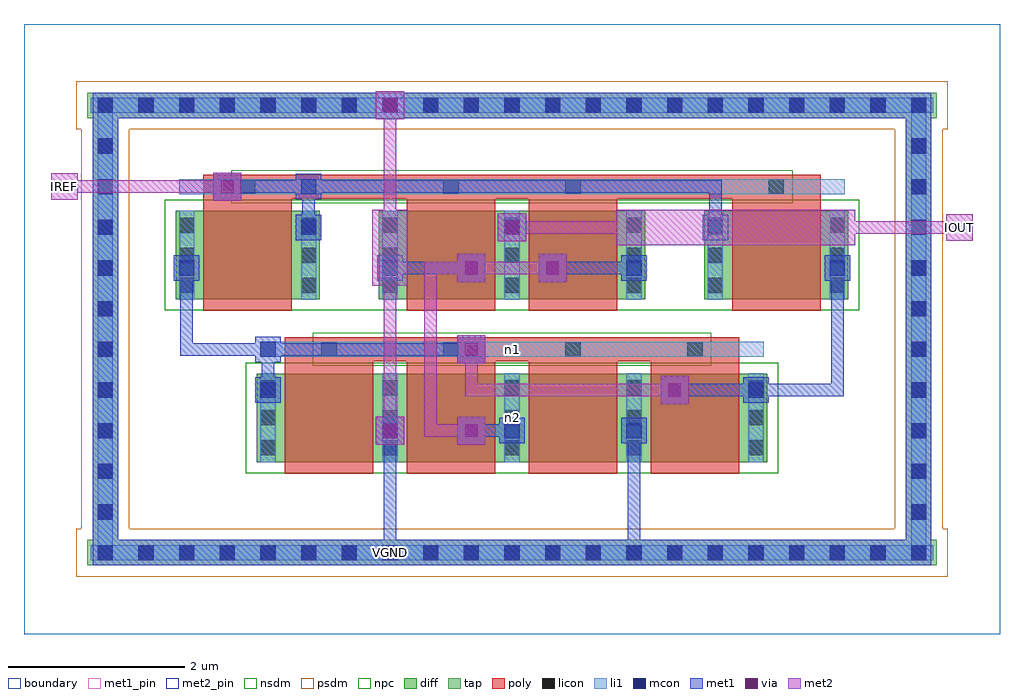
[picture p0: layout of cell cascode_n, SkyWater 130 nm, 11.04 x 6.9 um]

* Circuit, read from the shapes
.subckt cascode_n IOUT IREF VGND n1 n2
XM1 IREF IREF n1 VGND sky130_fd_pr__nfet_01v8 w=1 l=1 m=2
XM2 VGND n1 n1 VGND sky130_fd_pr__nfet_01v8 w=1 l=1 m=2
XM3 n2 n1 VGND VGND sky130_fd_pr__nfet_01v8 w=1 l=1 m=2
XM4 IOUT IREF n2 VGND sky130_fd_pr__nfet_01v8 w=1 l=1 m=2
.ends

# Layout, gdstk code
import gdstk
lib = gdstk.Library(unit=1e-6, precision=1e-09)
def R(c, l, rs):  # rectangles x0, y0, x1, y1
    for r in rs: c.add(gdstk.rectangle(r[:2], r[2:], *l))
def A(c, l, x, y, w, h, nx, ny, dx, dy):  # array of equal rectangles
    R(c, l, [(x+i*dx, y+j*dy, x+i*dx+w, y+j*dy+h) for i in range(nx) for j in range(ny)])
diff = (65, 20)
tap = (65, 44)
poly = (66, 20)
licon = (66, 44)
li1 = (67, 20)
mcon = (67, 44)
met1_pin = (68, 16)
met1 = (68, 20)
via = (68, 44)
met2_pin = (69, 16)
met2 = (69, 20)
nsdm = (93, 44)
psdm = (94, 20)
npc = (95, 20)
boundary = (235, 4)

cascode_n = lib.new_cell('cascode_n')
R(cascode_n, diff, [(2.635,1.945,8.405,2.945), (1.715,3.785,3.345,4.785), (4.015,3.785,7.025,4.785), (7.695,3.785,9.325,4.785)])
R(cascode_n, tap, [(0.715,0.775,10.325,1.065), (0.775,0.775,1.065,6.125), (9.975,0.775,10.265,6.125), (0.715,5.835,10.325,6.125)])
A(cascode_n, poly, 2.95, 1.815, 1, 1.405, 4, 1, 1.38, 0)
R(cascode_n, poly, [(2.95,3.085,8.09,3.355), (2.03,3.655,3.03,5.06), (4.33,3.655,5.33,5.06), (5.71,3.655,6.71,5.06), (8.01,3.655,9.01,5.06), (2.03,4.925,9.01,5.195)])
A(cascode_n, licon, 0.835, 0.835, 0.17, 0.17, 21, 2, 0.46, 5.06)
A(cascode_n, licon, 0.835, 1.295, 0.17, 0.17, 1, 10, 0, 0.46)
A(cascode_n, licon, 10.035, 1.295, 0.17, 0.17, 1, 10, 0, 0.46)
A(cascode_n, licon, 2.675, 2.02, 0.17, 0.17, 5, 3, 1.38, 0.34)
A(cascode_n, licon, 3.365, 3.135, 0.17, 0.17, 4, 1, 1.38, 0)
A(cascode_n, licon, 1.755, 3.86, 0.17, 0.17, 1, 3, 0, 0.34)
A(cascode_n, licon, 3.135, 3.86, 0.17, 0.17, 1, 3, 0, 0.34)
A(cascode_n, licon, 4.055, 3.86, 0.17, 0.17, 3, 3, 1.38, 0.34)
A(cascode_n, licon, 7.735, 3.86, 0.17, 0.17, 1, 3, 0, 0.34)
A(cascode_n, licon, 9.115, 3.86, 0.17, 0.17, 1, 3, 0, 0.34)
R(cascode_n, licon, [(2.445,4.975,2.615,5.145), (4.745,4.975,4.915,5.145), (6.125,4.975,6.295,5.145), (8.425,4.975,8.595,5.145)])
A(cascode_n, li1, 2.675, 1.94, 0.17, 1.01, 5, 1, 1.38, 0)
A(cascode_n, li1, 4.055, 3.78, 0.17, 1.01, 3, 1, 1.38, 0)
R(cascode_n, li1, [(0.755,0.835,10.285,1.005), (0.835,0.835,1.005,6.065), (10.035,0.835,10.205,6.065), (2.675,3.135,8.365,3.305), (1.755,3.78,1.925,4.79), (3.135,3.78,3.305,4.79), (7.735,3.78,7.905,4.79), (9.115,3.78,9.285,4.79), (1.755,4.975,9.285,5.145), (0.755,5.895,10.285,6.065)])
A(cascode_n, mcon, 0.835, 0.835, 0.17, 0.17, 21, 2, 0.46, 5.06)
A(cascode_n, mcon, 0.835, 1.295, 0.17, 0.17, 1, 7, 0, 0.46)
A(cascode_n, mcon, 10.035, 1.295, 0.17, 0.17, 1, 7, 0, 0.46)
A(cascode_n, mcon, 4.055, 2.215, 0.17, 0.17, 3, 1, 1.38, 0)
A(cascode_n, mcon, 0.835, 4.515, 0.17, 0.17, 5, 1, 2.3, 0)
R(cascode_n, mcon, [(2.675,2.675,2.845,2.845), (8.195,2.675,8.365,2.845), (2.675,3.135,2.845,3.305), (1.755,4.055,1.925,4.225), (4.055,4.055,4.225,4.225), (6.815,4.055,6.985,4.225), (9.115,4.055,9.285,4.225), (0.835,4.975,1.005,5.145), (3.135,4.975,3.305,5.145), (10.035,4.975,10.205,5.145), (0.835,5.435,1.005,5.605), (10.035,5.435,10.205,5.605)])
R(cascode_n, met1_pin, [(4.07,0.85,4.21,0.99)])
A(cascode_n, met1, 4.9, 2.14, 0.32, 0.32, 1, 3, 0, 0.92)
A(cascode_n, met1, 3.995, 2.155, 0.29, 0.29, 3, 1, 1.38, 0)
A(cascode_n, met1, 3.075, 4.455, 0.29, 0.29, 3, 1, 2.3, 0)
R(cascode_n, met1, [(0.775,0.775,10.265,1.065), (0.775,0.775,1.065,6.125), (9.975,0.775,10.265,6.125), (4.07,0.85,4.21,0.99), (4.07,0.85,4.21,2.37), (4.07,0.85,6.97,0.99), (6.83,0.85,6.97,2.37), (3.98,2.14,4.3,2.46), (4.99,2.23,5.59,2.37), (7.2,2.6,7.52,2.92), (2.615,2.615,2.905,2.905), (8.135,2.615,8.425,2.905), (2.69,2.69,2.83,3.29), (7.29,2.69,8.35,2.83), (8.21,2.69,9.27,2.83), (9.13,2.69,9.27,4.21), (2.615,3.075,2.905,3.365), (1.77,3.15,2.83,3.29), (1.77,3.15,1.91,4.21), (2.69,3.15,5.13,3.29), (5.82,3.98,6.14,4.3), (1.695,3.995,1.985,4.285), (3.995,3.995,4.285,4.285), (6.755,3.995,7.045,4.285), (9.055,3.995,9.345,4.285), (4.07,4.07,5.13,4.21), (5.91,4.07,6.97,4.21), (5.36,4.44,5.68,4.76), (3.15,4.53,3.29,5.13), (7.75,4.53,7.89,5.13), (2.14,4.9,2.46,5.22), (3.075,4.915,3.365,5.205), (2.23,4.99,3.29,5.13), (3.15,4.99,7.89,5.13), (3.98,5.82,4.3,6.14), (0.775,5.835,10.265,6.125), (4.07,5.91,4.21,6.05)])
A(cascode_n, via, 4.985, 2.225, 0.15, 0.15, 1, 3, 0, 0.92)
R(cascode_n, via, [(4.065,2.225,4.215,2.375), (7.285,2.685,7.435,2.835), (5.905,4.065,6.055,4.215), (5.445,4.525,5.595,4.675), (2.225,4.985,2.375,5.135), (4.065,5.905,4.215,6.055)])
R(cascode_n, met2_pin, [(10.43,4.45,10.73,4.75), (0.31,4.91,0.61,5.21)])
A(cascode_n, met2, 4.9, 2.14, 0.32, 0.32, 1, 3, 0, 0.92)
R(cascode_n, met2, [(3.98,2.14,4.3,2.46), (4.07,2.23,4.21,4.21), (4.53,2.23,4.67,4.21), (4.53,2.23,5.13,2.37), (7.2,2.6,7.52,2.92), (4.99,2.69,5.13,3.29), (4.99,2.69,7.43,2.83), (3.94,3.94,4.34,4.8), (5.82,3.98,6.14,4.3), (4.53,4.07,5.13,4.21), (4.99,4.07,6.05,4.21), (6.7,4.4,9.4,4.8), (5.36,4.44,5.68,4.76), (10.43,4.45,10.73,4.75), (4.07,4.53,4.21,6.05), (5.45,4.53,6.97,4.67), (9.13,4.53,10.65,4.67), (10.51,4.53,10.65,4.67), (2.14,4.9,2.46,5.22), (0.31,4.91,0.61,5.21), (0.39,4.99,0.53,5.13), (0.39,4.99,2.37,5.13), (3.98,5.82,4.3,6.14)])
R(cascode_n, nsdm, [(2.51,1.82,8.53,3.07), (1.59,3.66,9.45,4.91)])
R(cascode_n, psdm, [(0.59,0.65,10.45,1.19), (0.65,1.19,1.19,5.71), (9.85,1.19,10.39,5.71), (0.59,5.71,10.45,6.25)])
R(cascode_n, npc, [(3.265,3.035,7.775,3.405), (2.345,4.875,8.695,5.245)])
R(cascode_n, boundary, [(0,0,11.04,6.9)])
cascode_n.add(gdstk.Label('n1', (5.52,3.22), layer=67, texttype=5))
cascode_n.add(gdstk.Label('n2', (5.52,2.445), layer=67, texttype=5))
cascode_n.add(gdstk.Label('VGND', (4.14,0.92), layer=68, texttype=5))
cascode_n.add(gdstk.Label('IREF', (0.46,5.06), layer=69, texttype=5))
cascode_n.add(gdstk.Label('IOUT', (10.58,4.6), layer=69, texttype=5))
cascode_n.add(gdstk.Label('VGND', (4.14,0.92), layer=68, texttype=16))
cascode_n.add(gdstk.Label('IREF', (0.46,5.06), layer=69, texttype=16))
cascode_n.add(gdstk.Label('IOUT', (10.58,4.6), layer=69, texttype=16))

lib.write_gds('cascode_n.gds')
